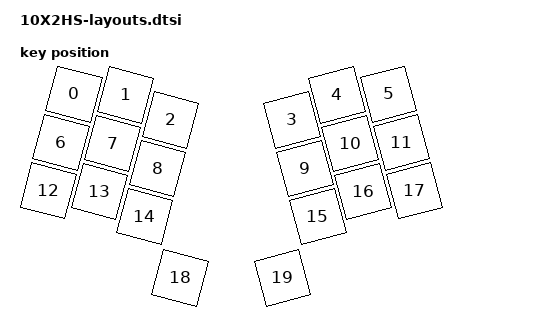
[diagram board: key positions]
#include <physical_layouts.dtsi>

/ {
    physical_layout0: physical_layout_0 {
        compatible = "zmk,physical-layout";
        display-name = "default_transform";

        kscan = <&kscan0>;
        transform = <&matrix_transform0>;

        keys  //                     w   h    x    y     rot    rx    ry
            = <&key_physical_attrs 100 100    0   25    1500     0    25>
            , <&key_physical_attrs 100 100  100    0    1500     0    25>
            , <&key_physical_attrs 100 100  200   25    1500     0    25>
            , <&key_physical_attrs 100 100  400   25 (-1500)   700    25>
            , <&key_physical_attrs 100 100  500    0 (-1500)   700    25>
            , <&key_physical_attrs 100 100  600   25 (-1500)   700    25>
            , <&key_physical_attrs 100 100    0  125    1500     0    25>
            , <&key_physical_attrs 100 100  100  100    1500     0    25>
            , <&key_physical_attrs 100 100  200  125    1500     0    25>
            , <&key_physical_attrs 100 100  400  125 (-1500)   700    25>
            , <&key_physical_attrs 100 100  500  100 (-1500)   700    25>
            , <&key_physical_attrs 100 100  600  125 (-1500)   700    25>
            , <&key_physical_attrs 100 100    0  225    1500     0    25>
            , <&key_physical_attrs 100 100  100  200    1500     0    25>
            , <&key_physical_attrs 100 100  200  225    1500     0    25>
            , <&key_physical_attrs 100 100  400  225 (-1500)   700    25>
            , <&key_physical_attrs 100 100  500  200 (-1500)   700    25>
            , <&key_physical_attrs 100 100  600  225 (-1500)   700    25>
            , <&key_physical_attrs 100 100  300  325    1500     0    25>
            , <&key_physical_attrs 100 100  300  325 (-1500)   700    25>
            ;
    };

    position_map {
        compatible = "zmk,physical-layout-position-map";

        complete;

        tenxtwohs_physical_layout {
            physical-layout = <&tenxtwohs_physical_layout>;
            positions =
                < 0  1  2    3  4  5  >
		      , < 6  7  8    9  10 11 >
		      , < 12 13 14   15 16 17 >
		      ,       < 18   19 >;
        };
    };
};
